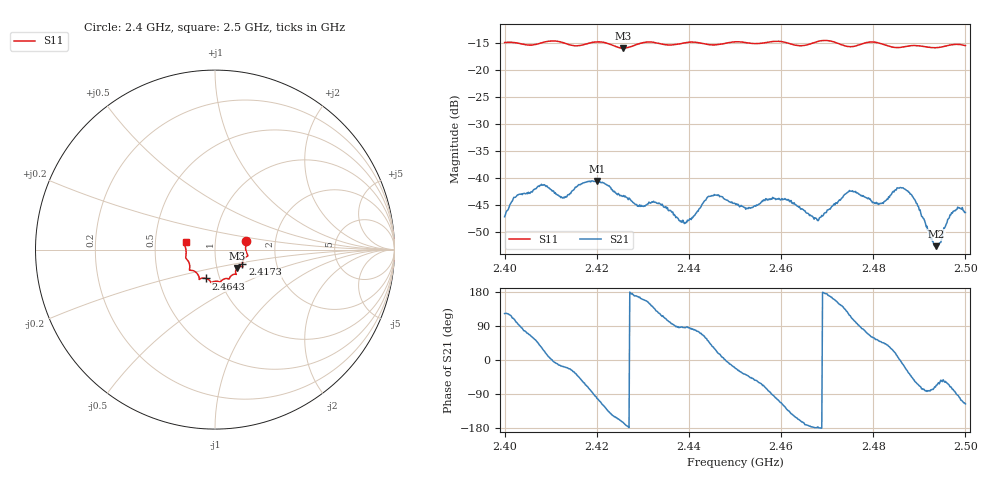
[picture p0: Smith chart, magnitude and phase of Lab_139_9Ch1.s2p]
# Hz S RI R 50
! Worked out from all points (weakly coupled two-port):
!   601 points, 2.4 GHz to 2.5 GHz, reference 50 ohm
!   highest |S21| = -40.54 dB at 2.42 GHz (marker M1); lowest = -52.6 dB at 2.4937 GHz (marker M2)
!   lowest |S11| = -15.9 dB at 2.4257 GHz (marker M3), VSWR 1.38, Z = 62.4 - j13.1 ohm
!   |S11| at or under -10 dB: start of sweep to end of sweep
!   S12 and S22 are empty: the file has one direction only
!   S11 on the Smith chart (normalised r, x): 2.4 GHz: 1.41, +0.14; 2.4173 GHz: 1.34, -0.23; 2.4643 GHz: 0.86, -0.29; 2.5 GHz: 0.72, +0.06
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2.4e9  0.1734 0.0493  -0.00235 0.00369  0 0  0 0
2.4025e9  0.1751 0.038  -0.00118 0.00662  0 0  0 0
2.407667e9  0.1763 -0.0176  0.00672 0.00526  0 0  0 0
2.412667e9  0.1757 -0.0392  0.00623 -0.00189  0 0  0 0
2.416667e9  0.153 -0.0742  0.00538 -0.00702  0 0  0 0
2.417333e9  0.1525 -0.0816  0.00443 -0.00788  0 0  0 0
2.42e9  0.1546 -0.0975  -0.00174 -0.00923  0 0  0 0
2.425667e9  0.1226 -0.1025  -0.0065 -0.00184  0 0  0 0
2.433333e9  0.1127 -0.1367  -0.00331 0.00474  0 0  0 0
2.439e9  0.0807 -0.1594  0.000273 0.00378  0 0  0 0
2.4445e9  0.0597 -0.1612  0.00475 0.00479  0 0  0 0
2.45e9  0.0291 -0.1807  0.00542 -0.00207  0 0  0 0
2.460667e9  -0.0249 -0.1803  -0.00334 -0.0054  0 0  0 0
2.464333e9  -0.0498 -0.1608  -0.00487 -0.00159  0 0  0 0
2.466667e9  -0.0759 -0.1598  -0.00443 -0.000278  0 0  0 0
2.475e9  -0.1062 -0.1262  -0.00344 0.00674  0 0  0 0
2.480833e9  -0.1423 -0.1104  0.00339 0.00466  0 0  0 0
2.483333e9  -0.1406 -0.0901  0.00541 0.00393  0 0  0 0
2.487833e9  -0.1597 -0.052  0.00597 -0.00432  0 0  0 0
2.493667e9  -0.1613 -0.00571  0.000921 -0.00214  0 0  0 0
2.497167e9  -0.1699 0.0273  0.00103 -0.0046  0 0  0 0
2.5e9  -0.1635 0.042  -0.00208 -0.00431  0 0  0 0
